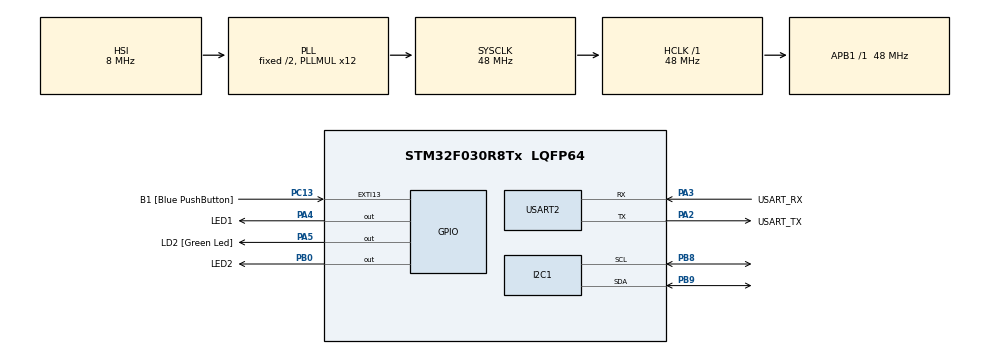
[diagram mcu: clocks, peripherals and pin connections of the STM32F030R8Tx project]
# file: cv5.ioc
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Dma.Request0=USART2_RX
Dma.USART2_RX.0.Direction=DMA_PERIPH_TO_MEMORY
Dma.USART2_RX.0.Instance=DMA1_Channel5
Dma.USART2_RX.0.MemDataAlignment=DMA_MDATAALIGN_BYTE
Dma.USART2_RX.0.MemInc=DMA_MINC_ENABLE
Dma.USART2_RX.0.Mode=DMA_CIRCULAR
Dma.USART2_RX.0.PeriphDataAlignment=DMA_PDATAALIGN_BYTE
Dma.USART2_RX.0.PeriphInc=DMA_PINC_DISABLE
Dma.USART2_RX.0.Priority=DMA_PRIORITY_LOW
Mcu.Family=STM32F0
Mcu.Name=STM32F030R8Tx
Mcu.Package=LQFP64
NVIC.DMA1_Channel4_5_IRQn=true\:0\:0\:false\:false\:true\:false\:true
PA13.GPIO_Label=TMS
PA13.Mode=Serial_Wire
PA13.Signal=SYS_SWDIO
PA14.GPIO_Label=TCK
PA14.Mode=Serial_Wire
PA14.Signal=SYS_SWCLK
PA2.GPIO_Label=USART_TX
PA2.GPIO_Mode=GPIO_MODE_AF_PP
PA2.GPIO_PuPd=GPIO_NOPULL
PA2.GPIO_Speed=GPIO_SPEED_FREQ_LOW
PA2.Mode=Asynchronous
PA2.Signal=USART2_TX
PA3.GPIO_Label=USART_RX
PA3.GPIO_Mode=GPIO_MODE_AF_PP
PA3.GPIO_PuPd=GPIO_NOPULL
PA3.GPIO_Speed=GPIO_SPEED_FREQ_LOW
PA3.Mode=Asynchronous
PA3.Signal=USART2_RX
PA4.GPIO_Label=LED1
PA4.Signal=GPIO_Output
PA5.GPIO_Label=LD2 [Green Led]
PA5.GPIO_Mode=GPIO_MODE_OUTPUT_PP
PA5.GPIO_PuPd=GPIO_NOPULL
PA5.GPIO_Speed=GPIO_SPEED_FREQ_LOW
PA5.Signal=GPIO_Output
PB0.GPIO_Label=LED2
PB0.Signal=GPIO_Output
PB8.Mode=I2C
PB8.Signal=I2C1_SCL
PB9.Mode=I2C
PB9.Signal=I2C1_SDA
PC13.GPIO_Label=B1 [Blue PushButton]
PC13.GPIO_ModeDefaultEXTI=GPIO_MODE_IT_FALLING
PC13.Signal=GPXTI13
PC14-OSC32_IN.Mode=LSE-External-Oscillator
PC14-OSC32_IN.Signal=RCC_OSC32_IN
PC15-OSC32_OUT.Mode=LSE-External-Oscillator
PC15-OSC32_OUT.Signal=RCC_OSC32_OUT
PF0-OSC_IN.Mode=HSE-External-Clock-Source
PF0-OSC_IN.Signal=RCC_OSC_IN
PF1-OSC_OUT.Signal=RCC_OSC_OUT
ProjectManager.HeapSize=0x200
ProjectManager.StackSize=0x400
ProjectManager.TargetToolchain=STM32CubeIDE
RCC.AHBFreq_Value=48000000
RCC.APB1Freq_Value=48000000
RCC.APB1TimFreq_Value=48000000
RCC.HCLKFreq_Value=48000000
RCC.PLLMUL=RCC_PLL_MUL12
RCC.SYSCLKFreq_VALUE=48000000
RCC.SYSCLKSource=RCC_SYSCLKSOURCE_PLLCLK
USART2.VirtualMode-Asynchronous=VM_ASYNC
board=NUCLEO-F030R8

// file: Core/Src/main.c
/* USER CODE BEGIN Header */
/**
  ******************************************************************************
  * @file           : main.c
  * @brief          : Main program body
  ******************************************************************************
  * @attention
  *
  * <h2><center>&copy; Copyright (c) 2020 STMicroelectronics.
  * All rights reserved.</center></h2>
  *
  * This software component is licensed by ST under BSD 3-Clause license,
  * the "License"; You may not use this file except in compliance with the
  * License. You may obtain a copy of the License at:
  *                        opensource.org/licenses/BSD-3-Clause
  *
  ******************************************************************************
  */
/* USER CODE END Header */
#include "main.h"

/* USER CODE BEGIN Includes */
#include <stdio.h>
#include <stdlib.h>
#include <string.h>
/* USER CODE END Includes */

I2C_HandleTypeDef hi2c1;

UART_HandleTypeDef huart2;
DMA_HandleTypeDef hdma_usart2_rx;

/* USER CODE BEGIN PV */

#define EEPROM_ADDR 0xA0

#define CMD_BUFFER_LEN 64

#define RX_BUFFER_LEN 64
static uint8_t uart_rx_buf[RX_BUFFER_LEN];
static volatile uint16_t uart_rx_read_ptr = 0;
#define uart_rx_write_ptr (RX_BUFFER_LEN - hdma_usart2_rx.Instance->CNDTR)

/* USER CODE END PV */

void SystemClock_Config(void);
static void MX_GPIO_Init(void);
static void MX_DMA_Init(void);
static void MX_USART2_UART_Init(void);
static void MX_I2C1_Init(void);
/* USER CODE BEGIN PFP */

int _write(int file, char const *buf, int n)
{
 /* stdout redirection to UART2 */
 HAL_UART_Transmit(&huart2, (uint8_t*)(buf), n, HAL_MAX_DELAY);
 return n;
}

static void uart_process_command(char *cmd)
{

	char *token;
	token = strtok(cmd, " ");
	/*-----------------------------------*/
	if (strcasecmp(token, "HELLO") == 0)
		{
			printf("Komunikace OK\n");
		}
	/*-----------------------------------*/
	else if (strcasecmp(token, "LED1") == 0)
		{
			 token = strtok(NULL, " ");
			 if (strcasecmp(token, "ON") == 0)
		{
			 HAL_GPIO_WritePin(LED1_GPIO_Port, LED1_Pin, GPIO_PIN_SET);
			 printf("OK\n");
		}
	else if (strcasecmp(token, "OFF") == 0)
		{
			 HAL_GPIO_WritePin(LED1_GPIO_Port, LED1_Pin, GPIO_PIN_RESET);
			 printf("OK\n");
		}

	 	else
			{
				printf("Neznamy prikaz\n");
			}

	}
	/*-----------------------------------*/
	else if (strcasecmp(token, "LED2") == 0)
	 	{
	 	 token = strtok(NULL, " ");

	 	 if (strcasecmp(token, "ON") == 0)
			 {
				 HAL_GPIO_WritePin(LED2_GPIO_Port, LED2_Pin, GPIO_PIN_SET);
				 printf("OK\n");
			 }

	 	 else if (strcasecmp(token, "OFF") == 0)
			 {
				 HAL_GPIO_WritePin(LED2_GPIO_Port, LED2_Pin, GPIO_PIN_RESET);
				 printf("OK\n");
			 }

		 	else
				{
					printf("Neznamy prikaz\n");
				}

	 	}
	/*-----------------------------------*/
	else if (strcasecmp(token, "READ") == 0)
		 {

			token = strtok(NULL, " ");
			uint16_t addr = atoi(token);
			uint8_t value;
			HAL_I2C_Mem_Read(&hi2c1, EEPROM_ADDR, addr, I2C_MEMADD_SIZE_16BIT, &value, 1, 1000);
			printf("Adresa 0x%04X = 0x%02X\n",addr,value);

		 	}
	/*-----------------------------------*/
		else if (strcasecmp(token, "DUMP") == 0)
			 {
				uint8_t value;

				for(volatile int8_t i = 0;i<16;i++)
				{
				HAL_I2C_Mem_Read(&hi2c1, EEPROM_ADDR, i, I2C_MEMADD_SIZE_16BIT, &value, 16, 1000);
				printf("%02X    ",value);
				if(i==7)printf("\n");
				}
				printf("\n");
			 	}
	/*-----------------------------------*/
		else if (strcasecmp(token, "WRITE") == 0)
			 {
			 	token = strtok(NULL, " ");
			 	uint16_t addr = atoi(token);
			 	token = strtok(NULL, " ");
			 	uint8_t value= atoi(token);
			 	HAL_I2C_Mem_Write(&hi2c1, EEPROM_ADDR, addr, I2C_MEMADD_SIZE_16BIT, &value, 1, 1000);
			 	while (HAL_I2C_IsDeviceReady(&hi2c1, EEPROM_ADDR, 300, 1000) == HAL_TIMEOUT) {}
				printf("OK\n");

			 }
	/*-----------------------------------*/
	 else if (strcasecmp(token, "STATUS") == 0)
	 		{
	 		 if (HAL_GPIO_ReadPin(LED1_GPIO_Port, LED1_Pin) == 1 && HAL_GPIO_ReadPin(LED2_GPIO_Port, LED2_Pin) == 0)
				 {
					 printf("stav LED1 = on, LED2 = off \n");
				 }
	 		 else  if (HAL_GPIO_ReadPin(LED1_GPIO_Port, LED1_Pin) == 0 && HAL_GPIO_ReadPin(LED2_GPIO_Port, LED2_Pin) == 1)
				 {
					 printf("stav LED1 = off, LED2 = on \n");
				 }
	 		else if(HAL_GPIO_ReadPin(LED1_GPIO_Port, LED1_Pin) == 1 && HAL_GPIO_ReadPin(LED2_GPIO_Port, LED2_Pin) == 1)
				 {
					 printf("stav LED1 = on, LED2 = on \n");
				 }
	 		else if(HAL_GPIO_ReadPin(LED1_GPIO_Port, LED1_Pin) == 0 && HAL_GPIO_ReadPin(LED2_GPIO_Port, LED2_Pin) == 0)
				{
					printf("stav LED1 = off, LED2 = off \n");
				}
	 		else
				{
					printf("Neznamy prikaz\n");
				}
	 		}
		else
				{
					printf("Neznamy prikaz\n");
				}
}

static void uart_byte_available(uint8_t c)
{
	 static uint16_t cnt;
	 static char data[CMD_BUFFER_LEN];
	 if (cnt < CMD_BUFFER_LEN && c >= 32 && c <= 126) data[cnt++] = c;
	 if ((c == '\n' || c == '\r') && cnt > 0)
	 {
		 data[cnt] = '\0';
		 uart_process_command(data);
		 cnt = 0;
	 }
}

/* USER CODE END PFP */

int main(void)
{

  /* MCU Configuration--------------------------------------------------------*/

  /* Reset of all peripherals, Initializes the Flash interface and the Systick. */
  HAL_Init();

  /* Configure the system clock */
  SystemClock_Config();

  /* Initialize all configured peripherals */
  MX_GPIO_Init();
  MX_DMA_Init();
  MX_USART2_UART_Init();
  MX_I2C1_Init();
  /* USER CODE BEGIN 2 */

  HAL_UART_Receive_DMA(&huart2, uart_rx_buf, RX_BUFFER_LEN);

  /* USER CODE END 2 */

  /* Infinite loop */
  while (1)
  {

    /* USER CODE BEGIN 3 */
	  while (uart_rx_read_ptr != uart_rx_write_ptr)
	  {
	   uint8_t b = uart_rx_buf[uart_rx_read_ptr];
	   if (++uart_rx_read_ptr >= RX_BUFFER_LEN) uart_rx_read_ptr = 0; // increase read pointer
	   uart_byte_available(b); // process every received byte with the RX state machine
	  }

  }
  /* USER CODE END 3 */
}

void SystemClock_Config(void)
{
  RCC_OscInitTypeDef RCC_OscInitStruct = {0};
  RCC_ClkInitTypeDef RCC_ClkInitStruct = {0};
  RCC_PeriphCLKInitTypeDef PeriphClkInit = {0};

  /** Initializes the RCC Oscillators according to the specified parameters
  * in the RCC_OscInitTypeDef structure.
  */
  RCC_OscInitStruct.OscillatorType = RCC_OSCILLATORTYPE_HSI;
  RCC_OscInitStruct.HSIState = RCC_HSI_ON;
  RCC_OscInitStruct.HSICalibrationValue = RCC_HSICALIBRATION_DEFAULT;
  RCC_OscInitStruct.PLL.PLLState = RCC_PLL_ON;
  RCC_OscInitStruct.PLL.PLLSource = RCC_PLLSOURCE_HSI;
  RCC_OscInitStruct.PLL.PLLMUL = RCC_PLL_MUL12;
  RCC_OscInitStruct.PLL.PREDIV = RCC_PREDIV_DIV1;
  if (HAL_RCC_OscConfig(&RCC_OscInitStruct) != HAL_OK)
  {
    Error_Handler();
  }
  /** Initializes the CPU, AHB and APB buses clocks
  */
  RCC_ClkInitStruct.ClockType = RCC_CLOCKTYPE_HCLK|RCC_CLOCKTYPE_SYSCLK
                              |RCC_CLOCKTYPE_PCLK1;
  RCC_ClkInitStruct.SYSCLKSource = RCC_SYSCLKSOURCE_PLLCLK;
  RCC_ClkInitStruct.AHBCLKDivider = RCC_SYSCLK_DIV1;
  RCC_ClkInitStruct.APB1CLKDivider = RCC_HCLK_DIV1;

  if (HAL_RCC_ClockConfig(&RCC_ClkInitStruct, FLASH_LATENCY_1) != HAL_OK)
  {
    Error_Handler();
  }
  PeriphClkInit.PeriphClockSelection = RCC_PERIPHCLK_I2C1;
  PeriphClkInit.I2c1ClockSelection = RCC_I2C1CLKSOURCE_HSI;
  if (HAL_RCCEx_PeriphCLKConfig(&PeriphClkInit) != HAL_OK)
  {
    Error_Handler();
  }
}

static void MX_I2C1_Init(void)
{

  hi2c1.Instance = I2C1;
  hi2c1.Init.Timing = 0x2000090E;
  hi2c1.Init.OwnAddress1 = 0;
  hi2c1.Init.AddressingMode = I2C_ADDRESSINGMODE_7BIT;
  hi2c1.Init.DualAddressMode = I2C_DUALADDRESS_DISABLE;
  hi2c1.Init.OwnAddress2 = 0;
  hi2c1.Init.OwnAddress2Masks = I2C_OA2_NOMASK;
  hi2c1.Init.GeneralCallMode = I2C_GENERALCALL_DISABLE;
  hi2c1.Init.NoStretchMode = I2C_NOSTRETCH_DISABLE;
  if (HAL_I2C_Init(&hi2c1) != HAL_OK)
  {
    Error_Handler();
  }
  /** Configure Analogue filter
  */
  if (HAL_I2CEx_ConfigAnalogFilter(&hi2c1, I2C_ANALOGFILTER_ENABLE) != HAL_OK)
  {
    Error_Handler();
  }
  /** Configure Digital filter
  */
  if (HAL_I2CEx_ConfigDigitalFilter(&hi2c1, 0) != HAL_OK)
  {
    Error_Handler();
  }

}

static void MX_USART2_UART_Init(void)
{

  huart2.Instance = USART2;
  huart2.Init.BaudRate = 38400;
  huart2.Init.WordLength = UART_WORDLENGTH_8B;
  huart2.Init.StopBits = UART_STOPBITS_1;
  huart2.Init.Parity = UART_PARITY_NONE;
  huart2.Init.Mode = UART_MODE_TX_RX;
  huart2.Init.HwFlowCtl = UART_HWCONTROL_NONE;
  huart2.Init.OverSampling = UART_OVERSAMPLING_16;
  huart2.Init.OneBitSampling = UART_ONE_BIT_SAMPLE_DISABLE;
  huart2.AdvancedInit.AdvFeatureInit = UART_ADVFEATURE_NO_INIT;
  if (HAL_UART_Init(&huart2) != HAL_OK)
  {
    Error_Handler();
  }

}

static void MX_DMA_Init(void)
{

  /* DMA controller clock enable */
  __HAL_RCC_DMA1_CLK_ENABLE();

  /* DMA interrupt init */
  /* DMA1_Channel4_5_IRQn interrupt configuration */
  HAL_NVIC_SetPriority(DMA1_Channel4_5_IRQn, 0, 0);
  HAL_NVIC_EnableIRQ(DMA1_Channel4_5_IRQn);

}

static void MX_GPIO_Init(void)
{
  GPIO_InitTypeDef GPIO_InitStruct = {0};

  /* GPIO Ports Clock Enable */
  __HAL_RCC_GPIOC_CLK_ENABLE();
  __HAL_RCC_GPIOF_CLK_ENABLE();
  __HAL_RCC_GPIOA_CLK_ENABLE();
  __HAL_RCC_GPIOB_CLK_ENABLE();

  /*Configure GPIO pin Output Level */
  HAL_GPIO_WritePin(GPIOA, LED1_Pin|LD2_Pin, GPIO_PIN_RESET);

  /*Configure GPIO pin Output Level */
  HAL_GPIO_WritePin(LED2_GPIO_Port, LED2_Pin, GPIO_PIN_RESET);

  /*Configure GPIO pin : B1_Pin */
  GPIO_InitStruct.Pin = B1_Pin;
  GPIO_InitStruct.Mode = GPIO_MODE_IT_FALLING;
  GPIO_InitStruct.Pull = GPIO_NOPULL;
  HAL_GPIO_Init(B1_GPIO_Port, &GPIO_InitStruct);

  /*Configure GPIO pins : LED1_Pin LD2_Pin */
  GPIO_InitStruct.Pin = LED1_Pin|LD2_Pin;
  GPIO_InitStruct.Mode = GPIO_MODE_OUTPUT_PP;
  GPIO_InitStruct.Pull = GPIO_NOPULL;
  GPIO_InitStruct.Speed = GPIO_SPEED_FREQ_LOW;
  HAL_GPIO_Init(GPIOA, &GPIO_InitStruct);

  /*Configure GPIO pin : LED2_Pin */
  GPIO_InitStruct.Pin = LED2_Pin;
  GPIO_InitStruct.Mode = GPIO_MODE_OUTPUT_PP;
  GPIO_InitStruct.Pull = GPIO_NOPULL;
  GPIO_InitStruct.Speed = GPIO_SPEED_FREQ_LOW;
  HAL_GPIO_Init(LED2_GPIO_Port, &GPIO_InitStruct);

}

void Error_Handler(void)
{
}

/************************ (C) COPYRIGHT STMicroelectronics *****END OF FILE****/
